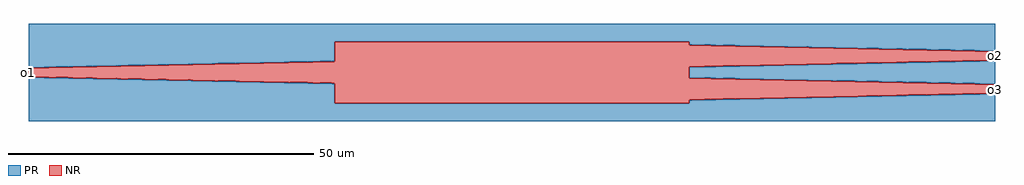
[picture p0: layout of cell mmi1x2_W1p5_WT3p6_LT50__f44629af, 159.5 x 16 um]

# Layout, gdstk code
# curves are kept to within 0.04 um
import gdstk
lib = gdstk.Library(unit=1e-6, precision=1e-09)
def P(c, l, *ps):  # polygons
    for p in ps: c.add(gdstk.Polygon(p, *l))
PR = (60, 0)
NR = (61, 0)

ps_27 = lib.new_cell('ps_27')
P(ps_27, PR, [(-50,-8),(-50,-0.75),(0,-1.8),(0,-5),(58,-5),(58,-4.5),(108,-3.45),(108,-8)],
  [(-50,0.75),(-50,8),(108,8),(108,3.45),(58,4.5),(58,5),(0,5),(0,1.8)],
  [(108,-1.95),(58,-0.9),(58,0.9),(108,1.95)])

ng_25 = lib.new_cell('ng_25')
P(ng_25, NR, [(0,-5),(0,-1.8),(-50,-0.75),(-50,0.75),(0,1.8),(0,5),(58,5),(58,4.5),(108,3.45),(108,1.95),(58,0.9),(58,-0.9),(108,-1.95),(108,-3.45),(58,-4.5),(58,-5)])

unnamed_0_1 = lib.new_cell('Unnamed_0$1')

mmi1x2_w1p5_wt3p6_lt50__ = lib.new_cell('mmi1x2_W1p5_WT3p6_LT50__f44629af')
P(mmi1x2_w1p5_wt3p6_lt50__, NR, [(108,-3.45),(108,-2.7),(108.075,-2.7),(108.075,-3.263),(108.645,-2.7),(108,-2.7),(108,-1.95),(108.75,-2.7)],
  [(108,1.95),(108,2.7),(108.075,2.7),(108.075,2.137),(108.645,2.7),(108,2.7),(108,3.45),(108.75,2.7)],
  [(-50,-0.75),(-50.75,0),(-50.187,0.563),(-50.075,0.563),(-50.645,0),(-50.075,0),(-50.075,0.563),(-50.187,0.563),(-50,0.75)])
mmi1x2_w1p5_wt3p6_lt50__.add(gdstk.Reference(ps_27, (0,0)))
mmi1x2_w1p5_wt3p6_lt50__.add(gdstk.Reference(ng_25, (0,0)))
mmi1x2_w1p5_wt3p6_lt50__.add(gdstk.Reference(unnamed_0_1, (0,0)))
mmi1x2_w1p5_wt3p6_lt50__.add(gdstk.Label('o2', (108,2.7), layer=61, texttype=0))
mmi1x2_w1p5_wt3p6_lt50__.add(gdstk.Label('o1', (-50,0), layer=61, texttype=0))
mmi1x2_w1p5_wt3p6_lt50__.add(gdstk.Label('o3', (108,-2.7), layer=61, texttype=0))

lib.write_gds('mmi1x2_W1p5_WT3p6_LT50__f44629af.gds')
